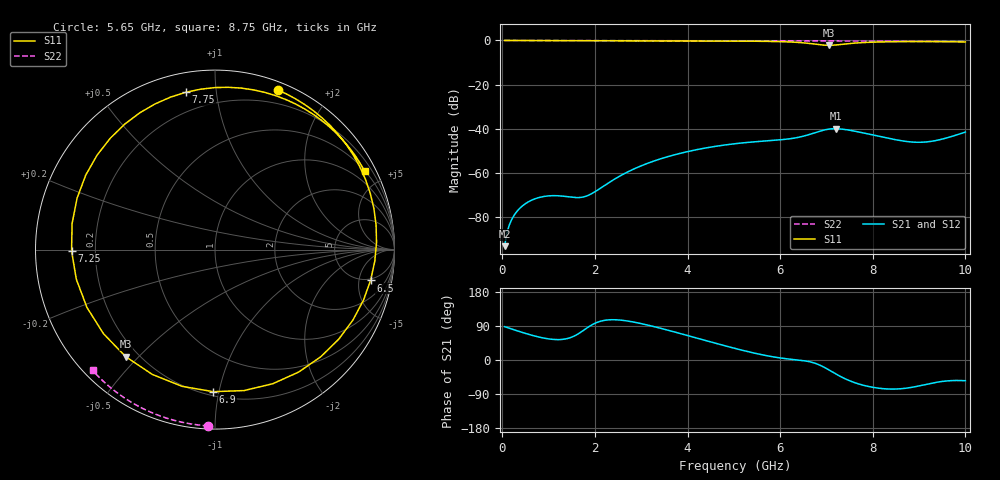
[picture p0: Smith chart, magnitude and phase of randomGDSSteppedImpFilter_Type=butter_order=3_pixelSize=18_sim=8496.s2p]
! freq	dB(S11)	phase(S11)	dB(S12)	phase(S12)
!  dB(S21)	phase(S21)	dB(S22)	phase(S22)
!S-par simulation data
#  GHz  S  DB  R 50
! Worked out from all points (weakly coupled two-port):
!   200 points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, 50 MHz to 10 GHz, reference 50 ohm
!   highest |S21| = -39.88 dB at 7.2 GHz (marker M1); lowest = -93.0 dB at 50 MHz (marker M2)
!   lowest |S11| = -2.2 dB at 7.05 GHz (marker M3), VSWR 7.96, Z = 7.64 - j23 ohm
!   |S11| at or under -10 dB: nowhere
!   |S22| runs from -0.5 to 0.0 dB; largest |S21 - S12| = 0
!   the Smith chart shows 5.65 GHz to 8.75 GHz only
!   S11 on the Smith chart (normalised r, x): 5.65 GHz: 0.07, +1.47; 6.5 GHz: 4.64, -7.27; 6.9 GHz: 0.23, -0.96; 7.25 GHz: 0.11, -0.00; 7.75 GHz: 0.10, +0.83; 8.75 GHz: 0.52, +4.02
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0.05  -0.00 -3.3  -92.96 88.0  -92.96 88.0  -0.00 -0.9
0.45  -0.04 -29.2  -74.51 72.1  -74.51 72.1  -0.01 -7.9
0.95  -0.07 -60.3  -70.34 56.7  -70.34 56.7  -0.02 -16.7
1.75  -0.12 -105.2  -70.72 78.0  -70.72 78.0  -0.04 -30.4
2.6  -0.15 -146.7  -60.57 104.7  -60.57 104.7  -0.06 -44.7
3.4  -0.18 177.7  -53.61 84.3  -53.61 84.3  -0.08 -57.8
4.2  -0.22 142.7  -49.34 57.8  -49.34 57.8  -0.10 -70.4
5.05  -0.29 102.6  -46.60 29.8  -46.60 29.8  -0.13 -83.3
5.65  -0.39 68.5  -45.46 12.8  -45.46 12.8  -0.15 -92.2
6.1  -0.60 34.5  -44.69 3.8  -44.69 3.8  -0.18 -98.7
6.5  -1.07 -11.2  -43.27 -1.6  -43.27 -1.6  -0.20 -104.4
6.7  -1.53 -45.5  -42.02 -6.6  -42.02 -6.6  -0.21 -107.2
6.9  -2.03 -90.7  -40.72 -16.0  -40.72 -16.0  -0.22 -110.0
7.05  -2.20 -129.8  -40.07 -25.9  -40.07 -25.9  -0.23 -112.1
7.2  -2.05 -167.9  -39.88 -36.6  -39.88 -36.6  -0.24 -114.2
7.25  -1.95 -179.5  -39.92 -40.1  -39.92 -40.1  -0.25 -114.9
7.5  -1.39 133.2  -40.57 -54.8  -40.57 -54.8  -0.26 -118.3
7.75  -1.00 100.5  -41.59 -65.1  -41.59 -65.1  -0.28 -121.8
8.35  -0.60 50.9  -44.26 -76.6  -44.26 -76.6  -0.33 -130.0
8.75  -0.52 27.5  -45.70 -73.9  -45.70 -73.9  -0.37 -135.4
9.35  -0.53 -1.8  -45.28 -59.4  -45.28 -59.4  -0.44 -143.6
10  -0.69 -30.8  -41.40 -54.7  -41.40 -54.7  -0.52 -152.5
